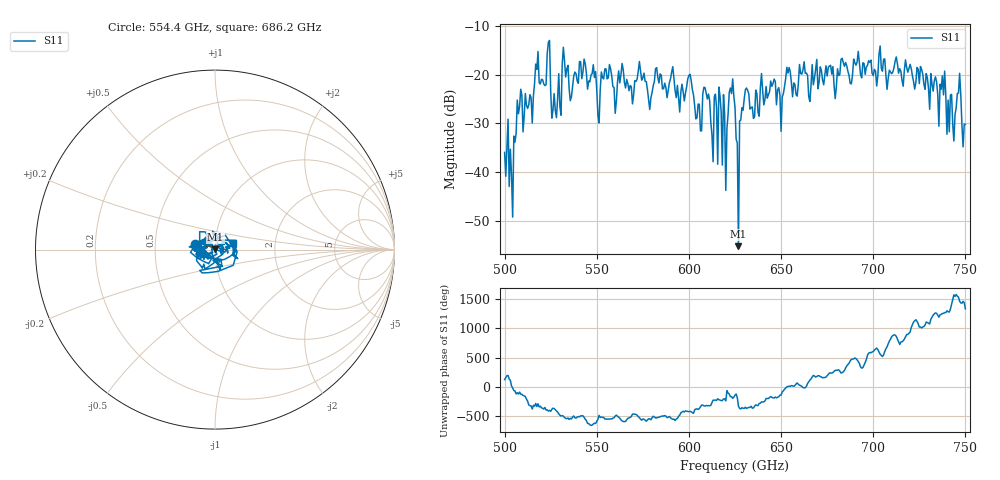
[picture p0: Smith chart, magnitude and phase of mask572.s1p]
!Created with skrf (http://scikit-rf.org).
# GHz S MA R 50.0
!freq magS11 angS11
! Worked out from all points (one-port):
!   401 points, 500 GHz to 750 GHz, reference 50 ohm
!   lowest |S11| = -55.3 dB at 626.9 GHz (marker M1), VSWR 1.00, Z = 50.2 + j0.0756 ohm
!   |S11| at or under -10 dB: start of sweep to end of sweep
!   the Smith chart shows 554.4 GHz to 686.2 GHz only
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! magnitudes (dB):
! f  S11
! 500 GHz  -36.0
! 503.8 GHz  -40.8
! 508.1 GHz  -26.5
! 513.8 GHz  -24.1
! 517.5 GHz  -18.9
! 523.8 GHz  -13.3
! 526.9 GHz  -23.9
! 531.2 GHz  -17.9
! 542.5 GHz  -19.4
! 551.2 GHz  -29.9
! 562.5 GHz  -21.7
! 593.8 GHz  -22.2
! 600.6 GHz  -19.9
! 605.6 GHz  -26.0
! 609.4 GHz  -23.8
! 619.4 GHz  -28.1
! 623.1 GHz  -23.9
! 625 GHz  -26.6
! 626.9 GHz  -55.3
! 631.2 GHz  -22.7
! 634.4 GHz  -26.6
! 656.2 GHz  -24.5
! 687.5 GHz  -21.8
! 718.8 GHz  -19.5
! 737.5 GHz  -20.2
! 742.5 GHz  -24.0
! 746.2 GHz  -23.8
! 750 GHz  -30.2
